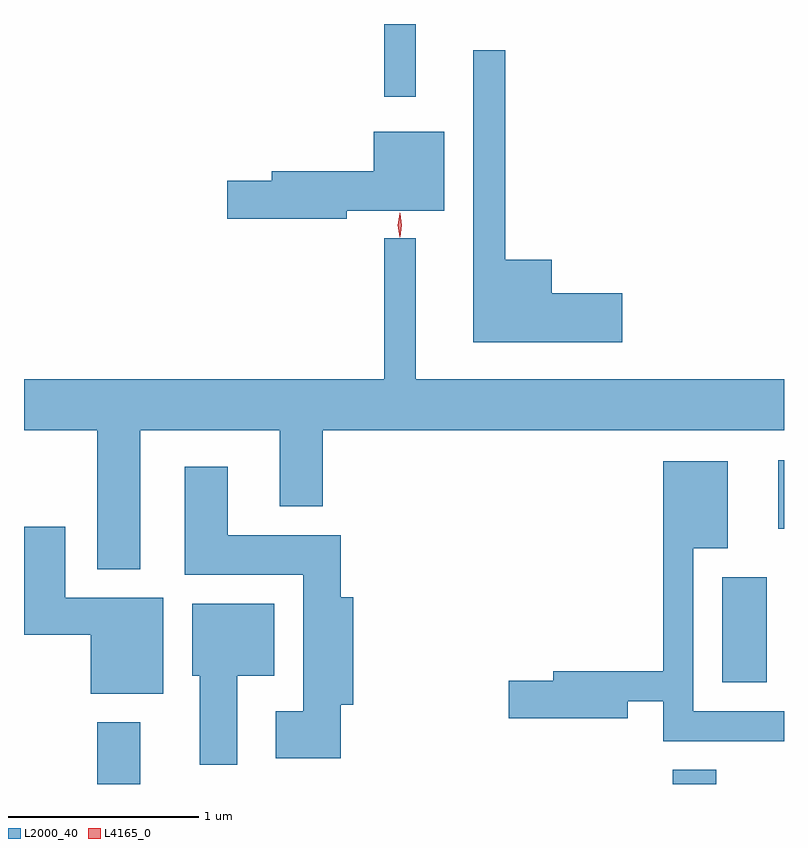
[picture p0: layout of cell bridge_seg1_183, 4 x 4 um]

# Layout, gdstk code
import gdstk
lib = gdstk.Library(unit=1e-6, precision=1e-09)
def R(c, l, rs):  # rectangles x0, y0, x1, y1
    for r in rs: c.add(gdstk.rectangle(r[:2], r[2:], *l))
def P(c, l, *ps):  # polygons
    for p in ps: c.add(gdstk.Polygon(p, *l))
L2000_40 = (2000, 40)
L4165_0 = (4165, 0)

bridge_seg1_183 = lib.new_cell('bridge_seg1_183')
R(bridge_seg1_183, L2000_40, [(764.401,962.095,764.629,962.419), (767.431,962.095,767.659,962.169), (767.691,962.631,767.924,963.184), (767.986,963.438,768.016,963.799), (765.911,965.713,766.079,966.095)])
P(bridge_seg1_183, L2000_40, [(767.164,964.679),(766.794,964.679),(766.794,964.854),(766.549,964.854),(766.549,965.958),(766.381,965.958),(766.381,964.421),(767.164,964.421)],
  [(765.714,965.111),(766.229,965.111),(766.229,965.529),(765.856,965.529),(765.856,965.319),(765.321,965.319),(765.321,965.269),(765.086,965.269),(765.086,965.071),(765.714,965.071)],
  [(764.629,963.956),(765.361,963.956),(765.361,963.556),(765.589,963.556),(765.589,963.956),(768.016,963.956),(768.016,964.224),(766.079,964.224),(766.079,964.968),(765.911,964.968),(765.911,964.224),(764.016,964.224),(764.016,963.956),(764.401,963.956),(764.401,963.226),(764.629,963.226)],
  [(768.016,962.479),(767.539,962.479),(767.539,963.336),(767.719,963.336),(767.719,963.794),(767.381,963.794),(767.381,962.689),(766.801,962.689),(766.801,962.639),(766.566,962.639),(766.566,962.441),(767.194,962.441),(767.194,962.531),(767.381,962.531),(767.381,962.321),(768.016,962.321)],
  [(765.684,962.511),(765.749,962.511),(765.749,963.079),(765.684,963.079),(765.684,963.404),(765.089,963.404),(765.089,963.764),(764.861,963.764),(764.861,963.196),(765.486,963.196),(765.486,962.479),(765.341,962.479),(765.341,962.231),(765.684,962.231)],
  [(764.749,963.074),(764.234,963.074),(764.234,963.449),(764.016,963.449),(764.016,962.881),(764.366,962.881),(764.366,962.571),(764.749,962.571)],
  [(765.139,962.666),(765.334,962.666),(765.334,963.044),(764.901,963.044),(764.901,962.666),(764.941,962.666),(764.941,962.196),(765.139,962.196)])
P(bridge_seg1_183, L4165_0, [(765.994,964.973),(765.994,964.974),(765.984,965.037),(765.994,965.1),(765.994,965.101),(765.995,965.1),(766.004,965.037),(765.995,964.974)])

lib.write_gds('bridge_seg1_183.gds')
